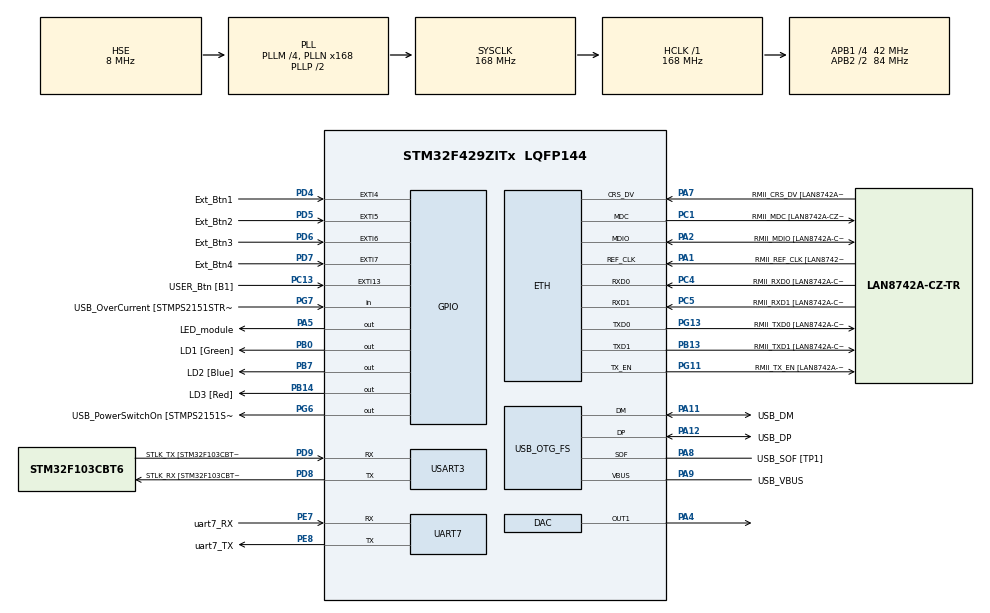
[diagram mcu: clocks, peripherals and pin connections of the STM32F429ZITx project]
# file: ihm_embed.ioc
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Mcu.Family=STM32F4
FREERTOS.Queues01=msgtosend,16,uint16_t,0,Dynamic,NULL,NULL;msgtoreceive,16,uint16_t,0,Dynamic,NULL,NULL
RCC.CortexFreq_Value=168000000
PG6.Signal=GPIO_Output
PB14.GPIO_Label=LD3 [Red]
PG6.GPIO_Label=USB_PowerSwitchOn [STMPS2151STR_EN]
PA14.GPIO_Label=TCK
RCC.SYSCLKSourceVirtual=RCC_SYSCLKSOURCE_PLLCLK
PA11.Mode=Device_Only
PB0.GPIO_Label=LD1 [Green]
PC14/OSC32_IN.Mode=LSE-External-Oscillator
PC5.Mode=RMII
PC13.GPIO_Label=USER_Btn [B1]
PB13.GPIO_Label=RMII_TXD1 [LAN8742A-CZ-TR_TXD1]
PB13.Signal=ETH_TXD1
PD6.GPIO_Label=Ext_Btn3
PG13.Signal=ETH_TXD0
PD9.Mode=Asynchronous
PG11.Signal=ETH_TX_EN
RCC.SYSCLKSource=RCC_SYSCLKSOURCE_PLLCLK
ProjectManager.StackSize=0x400
VP_FREERTOS_VS_CMSIS_V2.Mode=CMSIS_V2
PA12.Signal=USB_OTG_FS_DP
ETH.PHY_Value=0
PH0/OSC_IN.Mode=HSE-External-Clock-Source
RCC.HCLKFreq_Value=168000000
PD4.Signal=GPXTI4
RCC.APB2TimFreq_Value=168000000
PH1/OSC_OUT.Signal=RCC_OSC_OUT
PD8.Signal=USART3_TX
RCC.AHBFreq_Value=168000000
RCC.HSE_VALUE=8000000
RCC.PLLMUL=RCC_PLL_MUL9
PC4.GPIO_Label=RMII_RXD0 [LAN8742A-CZ-TR_RXD0]
PA14.Mode=Serial_Wire
NVIC.TIM2_IRQn=true\:0\:0\:false\:false\:true\:false\:false\:true
PA10.GPIO_Label=USB_ID
PB7.Signal=GPIO_Output
PA8.Signal=USB_OTG_FS_SOF
PG13.Mode=RMII
ETH.PHY_Name=LAN8742A_PHY_ADDRESS
PH1/OSC_OUT.Mode=HSE-External-Clock-Source
PD7.GPIO_Label=Ext_Btn4
PB7.GPIO_Label=LD2 [Blue]
Mcu.Package=LQFP144
VP_SYS_VS_tim2.Mode=TIM2
NVIC.TimeBase=TIM2_IRQn
PC14/OSC32_IN.Signal=RCC_OSC32_IN
PD5.GPIO_Label=Ext_Btn2
PA2.GPIO_Label=RMII_MDIO [LAN8742A-CZ-TR_MDIO]
NVIC.TimeBaseIP=TIM2
PA10.Signal=USB_OTG_FS_ID
USB_OTG_FS.VirtualMode=Device_Only
RCC.APB2CLKDivider=RCC_HCLK_DIV2
RCC.APB1TimFreq_Value=84000000
PG11.GPIO_Label=RMII_TX_EN [LAN8742A-CZ-TR_TXEN]
PC5.Signal=ETH_RXD1
PB13.Mode=RMII
PE7.Signal=UART7_RX
PD6.Signal=GPXTI6
PC4.Mode=RMII
SH.COMP_DAC1_group.0=DAC_OUT1,DAC_OUT1
NVIC.EXTI4_IRQn=true\:0\:0\:false\:false\:true\:false\:true\:true
FREERTOS.Tasks01=ReadButton,24,128,readButton,Default,NULL,Dynamic,NULL,NULL;DisplayLed,24,128,displayLED,Default,NULL,Dynamic,NULL,NULL;Communication,24,128,communication,Default,NULL,Dynamic,NULL,NULL
PA7.Mode=RMII
PG7.Signal=GPIO_Input
PD9.GPIO_Label=STLK_TX [STM32F103CBT6_PA2]
PC13.Signal=GPXTI13
PA9.GPIO_Label=USB_VBUS
PC4.Signal=ETH_RXD0
PD7.Signal=GPXTI7
PA11.GPIO_Label=USB_DM
PD9.Signal=USART3_RX
PD5.Signal=GPXTI5
UART7.VirtualMode=Asynchronous
RCC.APB1CLKDivider=RCC_HCLK_DIV4
PG13.GPIO_Label=RMII_TXD0 [LAN8742A-CZ-TR_TXD0]
ETH.PhyAddress=0
PA12.GPIO_Label=USB_DP
PD8.GPIO_Label=STLK_RX [STM32F103CBT6_PA3]
PE8.Mode=Asynchronous
PA13.Signal=SYS_JTMS-SWDIO
PA9.Mode=Activate_VBUS
PA8.GPIO_Label=USB_SOF [TP1]
ProjectManager.TargetToolchain=TrueSTUDIO
PE8.GPIO_Label=uart7_TX
PA9.Signal=USB_OTG_FS_VBUS
RCC.USBFreq_Value=48000000
PD8.Mode=Asynchronous
PA1.Signal=ETH_REF_CLK
PB14.Signal=GPIO_Output
PA5.Signal=GPIO_Output
board=NUCLEO-F429ZI
RCC.VCOOutputFreq_Value=336000000
PH0/OSC_IN.Signal=RCC_OSC_IN
RCC.APB2Freq_Value=84000000
PA1.Mode=RMII
RCC.PRESCALERUSB=RCC_USBCLKSOURCE_PLL_DIV1_5
PE8.Signal=UART7_TX
PD4.GPIO_Label=Ext_Btn1
PG7.GPIO_Label=USB_OverCurrent [STMPS2151STR_FAULT]
PA1.GPIO_Label=RMII_REF_CLK [LAN8742A-CZ-TR_REFCLK0]
PC1.GPIO_Label=RMII_MDC [LAN8742A-CZ-TR_MDC]
PA13.Mode=Serial_Wire
Mcu.Name=STM32F429ZITx
PE7.GPIO_Label=uart7_RX
PA2.Signal=ETH_MDIO
PA13.GPIO_Label=TMS
RCC.APB2TimCLKDivider=2
RCC.48MHZClocksFreq_Value=48000000
PA4.Signal=COMP_DAC1_group
RCC.SYSCLKFreq_VALUE=168000000
PE7.Mode=Asynchronous
ETH.MediaInterface=ETH_MEDIA_INTERFACE_RMII
PA7.GPIO_Label=RMII_CRS_DV [LAN8742A-CZ-TR_CRS_DV]
PA12.Mode=Device_Only
PA5.GPIO_Label=LED_module
PC5.GPIO_Label=RMII_RXD1 [LAN8742A-CZ-TR_RXD1]
USART3.VirtualMode=VM_ASYNC
PC15/OSC32_OUT.Mode=LSE-External-Oscillator
PG11.Mode=RMII
PA11.Signal=USB_OTG_FS_DM
NVIC.EXTI9_5_IRQn=true\:0\:0\:false\:false\:true\:false\:true\:true
PA14.Signal=SYS_JTCK-SWCLK
ProjectManager.HeapSize=0x200
RCC.HSI_VALUE=16000000
PH0/OSC_IN.GPIO_Label=MCO [STM32F103CBT6_PA8]
RCC.PLLQ=7
NVIC.PriorityGroup=NVIC_PRIORITYGROUP_4
RCC.PLLM=4
RCC.PLLN=168
PA2.Mode=RMII
PC15/OSC32_OUT.Signal=RCC_OSC32_OUT
PA8.Mode=Activate_SOF_FS
RCC.APB1Freq_Value=42000000
PB0.Signal=GPIO_Output
PC1.Signal=ETH_MDC
PC1.Mode=RMII
PA7.Signal=ETH_CRS_DV

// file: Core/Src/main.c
/* USER CODE BEGIN Header */
/**
 ******************************************************************************
 * @file           : main.c
 * @brief          : Main program body
 ******************************************************************************
 * @attention
 *
 * <h2><center>&copy; Copyright (c) 2020 STMicroelectronics.
 * All rights reserved.</center></h2>
 *
 * This software component is licensed by ST under Ultimate Liberty license
 * SLA0044, the "License"; You may not use this file except in compliance with
 * the License. You may obtain a copy of the License at:
 *                             www.st.com/SLA0044
 *
 ******************************************************************************
 */
/* USER CODE END Header */
#include "main.h"
#include "cmsis_os.h"

/* USER CODE BEGIN Includes */
#include "uart7_com.h"
#include "driverFunc.h"
/* USER CODE END Includes */

DAC_HandleTypeDef hdac;

ETH_HandleTypeDef heth;

UART_HandleTypeDef huart7;
UART_HandleTypeDef huart3;

PCD_HandleTypeDef hpcd_USB_OTG_FS;

/* Definitions for ReadButton */
osThreadId_t ReadButtonHandle;
const osThreadAttr_t ReadButton_attributes = {
		.name = "ReadButton",
		.priority = (osPriority_t) osPriorityNormal,
		.stack_size = 128 * 4
};
/* Definitions for DisplayLed */
osThreadId_t DisplayLedHandle;
const osThreadAttr_t DisplayLed_attributes = {
		.name = "DisplayLed",
		.priority = (osPriority_t) osPriorityNormal,
		.stack_size = 128 * 4
};
/* Definitions for Communication */
osThreadId_t CommunicationHandle;
const osThreadAttr_t Communication_attributes = {
		.name = "Communication",
		.priority = (osPriority_t) osPriorityNormal,
		.stack_size = 128 * 4
};
/* Definitions for msgtosend */
osMessageQueueId_t msgtosendHandle;
const osMessageQueueAttr_t msgtosend_attributes = {
		.name = "msgtosend"
};
/* Definitions for msgtoreceive */
osMessageQueueId_t msgtoreceiveHandle;
const osMessageQueueAttr_t msgtoreceive_attributes = {
		.name = "msgtoreceive"
};
/* USER CODE BEGIN PV */
osThreadId_t Uart_comHandle;
const osThreadAttr_t Uart_com_attributes = {
		.name = "Uart Com",
		.priority = (osPriority_t) osPriorityNormal,
		.stack_size = 128 * 4
};
uint8_t btn_left = FALSE;
uint8_t btn_down = FALSE;
uint8_t btn_right = FALSE;
/* USER CODE END PV */

void SystemClock_Config(void);
static void MX_GPIO_Init(void);
static void MX_ETH_Init(void);
static void MX_USART3_UART_Init(void);
static void MX_USB_OTG_FS_PCD_Init(void);
static void MX_UART7_Init(void);
static void MX_DAC_Init(void);
void readButton(void *argument);
void displayLED(void *argument);
void communication(void *argument);

/* USER CODE BEGIN 0 */
extern int matrix[8][8];

/* USER CODE END 0 */

int main(void)
{

	/* MCU Configuration--------------------------------------------------------*/

	/* Reset of all peripherals, Initializes the Flash interface and the Systick. */
	HAL_Init();

	/* Configure the system clock */
	SystemClock_Config();

	/* Initialize all configured peripherals */
	MX_GPIO_Init();
	MX_ETH_Init();
	MX_USART3_UART_Init();
	MX_USB_OTG_FS_PCD_Init();
	MX_UART7_Init();
	MX_DAC_Init();

	/* Init scheduler */
	osKernelInitialize();

	/* Create the queue(s) */
	/* creation of msgtosend */
	msgtosendHandle = osMessageQueueNew (16, 5, &msgtosend_attributes);

	/* creation of msgtoreceive */
	msgtoreceiveHandle = osMessageQueueNew (16, sizeof(uint16_t), &msgtoreceive_attributes);

	/* Create the thread(s) */
	/* creation of ReadButton */
	ReadButtonHandle = osThreadNew(readButton, NULL, &ReadButton_attributes);

	/* creation of DisplayLed */
	DisplayLedHandle = osThreadNew(displayLED, NULL, &DisplayLed_attributes);

	/* creation of Communication */
	CommunicationHandle = osThreadNew(communication, NULL, &Communication_attributes);

	/* USER CODE BEGIN RTOS_THREADS */
	/* add threads, ... */
	Uart_comHandle = osThreadNew(uart_com, NULL, &Uart_com_attributes);

	/* USER CODE END RTOS_THREADS */

	/* Start scheduler */
	osKernelStart();

	/* We should never get here as control is now taken by the scheduler */
	/* Infinite loop */
	while (1)
	{

	}
}

void SystemClock_Config(void)
{
	RCC_OscInitTypeDef RCC_OscInitStruct = {0};
	RCC_ClkInitTypeDef RCC_ClkInitStruct = {0};

	/** Configure the main internal regulator output voltage
	 */
	__HAL_RCC_PWR_CLK_ENABLE();
	__HAL_PWR_VOLTAGESCALING_CONFIG(PWR_REGULATOR_VOLTAGE_SCALE1);
	/** Initializes the RCC Oscillators according to the specified parameters
	 * in the RCC_OscInitTypeDef structure.
	 */
	RCC_OscInitStruct.OscillatorType = RCC_OSCILLATORTYPE_HSE;
	RCC_OscInitStruct.HSEState = RCC_HSE_BYPASS;
	RCC_OscInitStruct.PLL.PLLState = RCC_PLL_ON;
	RCC_OscInitStruct.PLL.PLLSource = RCC_PLLSOURCE_HSE;
	RCC_OscInitStruct.PLL.PLLM = 4;
	RCC_OscInitStruct.PLL.PLLN = 168;
	RCC_OscInitStruct.PLL.PLLP = RCC_PLLP_DIV2;
	RCC_OscInitStruct.PLL.PLLQ = 7;
	if (HAL_RCC_OscConfig(&RCC_OscInitStruct) != HAL_OK)
	{
		Error_Handler();
	}
	/** Initializes the CPU, AHB and APB buses clocks
	 */
	RCC_ClkInitStruct.ClockType = RCC_CLOCKTYPE_HCLK|RCC_CLOCKTYPE_SYSCLK
			|RCC_CLOCKTYPE_PCLK1|RCC_CLOCKTYPE_PCLK2;
	RCC_ClkInitStruct.SYSCLKSource = RCC_SYSCLKSOURCE_PLLCLK;
	RCC_ClkInitStruct.AHBCLKDivider = RCC_SYSCLK_DIV1;
	RCC_ClkInitStruct.APB1CLKDivider = RCC_HCLK_DIV4;
	RCC_ClkInitStruct.APB2CLKDivider = RCC_HCLK_DIV2;

	if (HAL_RCC_ClockConfig(&RCC_ClkInitStruct, FLASH_LATENCY_5) != HAL_OK)
	{
		Error_Handler();
	}
}

static void MX_DAC_Init(void)
{

	DAC_ChannelConfTypeDef sConfig = {0};

	/** DAC Initialization
	 */
	hdac.Instance = DAC;
	if (HAL_DAC_Init(&hdac) != HAL_OK)
	{
		Error_Handler();
	}
	/** DAC channel OUT1 config
	 */
	sConfig.DAC_Trigger = DAC_TRIGGER_NONE;
	sConfig.DAC_OutputBuffer = DAC_OUTPUTBUFFER_ENABLE;
	if (HAL_DAC_ConfigChannel(&hdac, &sConfig, DAC_CHANNEL_1) != HAL_OK)
	{
		Error_Handler();
	}

}

static void MX_ETH_Init(void)
{

	heth.Instance = ETH;
	heth.Init.AutoNegotiation = ETH_AUTONEGOTIATION_ENABLE;
	heth.Init.PhyAddress = LAN8742A_PHY_ADDRESS;
	heth.Init.MACAddr[0] =   0x00;
	heth.Init.MACAddr[1] =   0x80;
	heth.Init.MACAddr[2] =   0xE1;
	heth.Init.MACAddr[3] =   0x00;
	heth.Init.MACAddr[4] =   0x00;
	heth.Init.MACAddr[5] =   0x00;
	heth.Init.RxMode = ETH_RXPOLLING_MODE;
	heth.Init.ChecksumMode = ETH_CHECKSUM_BY_HARDWARE;
	heth.Init.MediaInterface = ETH_MEDIA_INTERFACE_RMII;

	if (HAL_ETH_Init(&heth) != HAL_OK)
	{
		Error_Handler();
	}

}

static void MX_UART7_Init(void)
{

	huart7.Instance = UART7;
	huart7.Init.BaudRate = 115200;
	huart7.Init.WordLength = UART_WORDLENGTH_8B;
	huart7.Init.StopBits = UART_STOPBITS_1;
	huart7.Init.Parity = UART_PARITY_NONE;
	huart7.Init.Mode = UART_MODE_TX_RX;
	huart7.Init.HwFlowCtl = UART_HWCONTROL_NONE;
	huart7.Init.OverSampling = UART_OVERSAMPLING_16;
	if (HAL_UART_Init(&huart7) != HAL_OK)
	{
		Error_Handler();
	}

}

static void MX_USART3_UART_Init(void)
{

	huart3.Instance = USART3;
	huart3.Init.BaudRate = 115200;
	huart3.Init.WordLength = UART_WORDLENGTH_8B;
	huart3.Init.StopBits = UART_STOPBITS_1;
	huart3.Init.Parity = UART_PARITY_NONE;
	huart3.Init.Mode = UART_MODE_TX_RX;
	huart3.Init.HwFlowCtl = UART_HWCONTROL_NONE;
	huart3.Init.OverSampling = UART_OVERSAMPLING_16;
	if (HAL_UART_Init(&huart3) != HAL_OK)
	{
		Error_Handler();
	}

}

static void MX_USB_OTG_FS_PCD_Init(void)
{

	hpcd_USB_OTG_FS.Instance = USB_OTG_FS;
	hpcd_USB_OTG_FS.Init.dev_endpoints = 4;
	hpcd_USB_OTG_FS.Init.speed = PCD_SPEED_FULL;
	hpcd_USB_OTG_FS.Init.dma_enable = DISABLE;
	hpcd_USB_OTG_FS.Init.phy_itface = PCD_PHY_EMBEDDED;
	hpcd_USB_OTG_FS.Init.Sof_enable = ENABLE;
	hpcd_USB_OTG_FS.Init.low_power_enable = DISABLE;
	hpcd_USB_OTG_FS.Init.lpm_enable = DISABLE;
	hpcd_USB_OTG_FS.Init.vbus_sensing_enable = ENABLE;
	hpcd_USB_OTG_FS.Init.use_dedicated_ep1 = DISABLE;
	if (HAL_PCD_Init(&hpcd_USB_OTG_FS) != HAL_OK)
	{
		Error_Handler();
	}

}

static void MX_GPIO_Init(void)
{
	GPIO_InitTypeDef GPIO_InitStruct = {0};

	/* GPIO Ports Clock Enable */
	__HAL_RCC_GPIOC_CLK_ENABLE();
	__HAL_RCC_GPIOH_CLK_ENABLE();
	__HAL_RCC_GPIOA_CLK_ENABLE();
	__HAL_RCC_GPIOB_CLK_ENABLE();
	__HAL_RCC_GPIOE_CLK_ENABLE();
	__HAL_RCC_GPIOD_CLK_ENABLE();
	__HAL_RCC_GPIOG_CLK_ENABLE();

	/*Configure GPIO pin Output Level */
	HAL_GPIO_WritePin(LED_module_GPIO_Port, LED_module_Pin, GPIO_PIN_RESET);

	/*Configure GPIO pin Output Level */
	HAL_GPIO_WritePin(GPIOB, LD1_Pin|LD3_Pin|LD2_Pin, GPIO_PIN_RESET);

	/*Configure GPIO pin Output Level */
	HAL_GPIO_WritePin(USB_PowerSwitchOn_GPIO_Port, USB_PowerSwitchOn_Pin, GPIO_PIN_RESET);

	/*Configure GPIO pin : USER_Btn_Pin */
	GPIO_InitStruct.Pin = USER_Btn_Pin;
	GPIO_InitStruct.Mode = GPIO_MODE_IT_RISING;
	GPIO_InitStruct.Pull = GPIO_NOPULL;
	HAL_GPIO_Init(USER_Btn_GPIO_Port, &GPIO_InitStruct);

	/*Configure GPIO pin : LED_module_Pin */
	GPIO_InitStruct.Pin = LED_module_Pin;
	GPIO_InitStruct.Mode = GPIO_MODE_OUTPUT_PP;
	GPIO_InitStruct.Pull = GPIO_NOPULL;
	GPIO_InitStruct.Speed = GPIO_SPEED_FREQ_LOW;
	HAL_GPIO_Init(LED_module_GPIO_Port, &GPIO_InitStruct);

	/*Configure GPIO pins : LD1_Pin LD3_Pin LD2_Pin */
	GPIO_InitStruct.Pin = LD1_Pin|LD3_Pin|LD2_Pin;
	GPIO_InitStruct.Mode = GPIO_MODE_OUTPUT_PP;
	GPIO_InitStruct.Pull = GPIO_NOPULL;
	GPIO_InitStruct.Speed = GPIO_SPEED_FREQ_LOW;
	HAL_GPIO_Init(GPIOB, &GPIO_InitStruct);

	/*Configure GPIO pin : USB_PowerSwitchOn_Pin */
	GPIO_InitStruct.Pin = USB_PowerSwitchOn_Pin;
	GPIO_InitStruct.Mode = GPIO_MODE_OUTPUT_PP;
	GPIO_InitStruct.Pull = GPIO_NOPULL;
	GPIO_InitStruct.Speed = GPIO_SPEED_FREQ_LOW;
	HAL_GPIO_Init(USB_PowerSwitchOn_GPIO_Port, &GPIO_InitStruct);

	/*Configure GPIO pin : USB_OverCurrent_Pin */
	GPIO_InitStruct.Pin = USB_OverCurrent_Pin;
	GPIO_InitStruct.Mode = GPIO_MODE_INPUT;
	GPIO_InitStruct.Pull = GPIO_NOPULL;
	HAL_GPIO_Init(USB_OverCurrent_GPIO_Port, &GPIO_InitStruct);

	/*Configure GPIO pins : Ext_Btn1_Pin Ext_Btn2_Pin Ext_Btn3_Pin Ext_Btn4_Pin */
	GPIO_InitStruct.Pin = Ext_Btn1_Pin|Ext_Btn2_Pin|Ext_Btn3_Pin|Ext_Btn4_Pin;
	GPIO_InitStruct.Mode = GPIO_MODE_IT_RISING;
	GPIO_InitStruct.Pull = GPIO_NOPULL;
	HAL_GPIO_Init(GPIOD, &GPIO_InitStruct);

	/* EXTI interrupt init*/
	HAL_NVIC_SetPriority(EXTI4_IRQn, 0, 0);
	HAL_NVIC_EnableIRQ(EXTI4_IRQn);

	HAL_NVIC_SetPriority(EXTI9_5_IRQn, 0, 0);
	HAL_NVIC_EnableIRQ(EXTI9_5_IRQn);

}

/* USER CODE BEGIN 4 */
void send_message(char *value_to_push,
		int message_lenght) {
	if (message_lenght <= 10) {
		//		push_element(&liste_app, value_to_push);
		osMessageQueuePut(msgtosendHandle,value_to_push,0,10);

	}
}
void receive_message(char * msg_to_reveive, int lenght){
	if (lenght <= 10) {
		osMessageQueueGet(msgtoreceiveHandle,msg_to_reveive,0,10);
	}

}

void HAL_GPIO_EXTI_Callback(uint16_t GPIO_Pin){ // INTERRUPTION !
	if(GPIO_Pin == Ext_Btn1_Pin){ // GAUCHE
		btn_left = TRUE;
	}
	if(GPIO_Pin == Ext_Btn2_Pin){ // MILIEU GAUCHE
		btn_down = TRUE;
	}
	if(GPIO_Pin == Ext_Btn3_Pin){ // MILIEU DROITE
		btn_down = TRUE;
	}
	if (GPIO_Pin == Ext_Btn4_Pin){ // DROITE
		btn_right = TRUE;
	}
}
/* USER CODE END 4 */

void readButton(void *argument)
{
	/* USER CODE BEGIN 5 */
	char  message[5];
	message[0]='p';
	message[1]='1';
	message[3]='d';
	message[4]='\n';
	/* Infinite loop */
	for(;;)
	{
		if(btn_left == TRUE){
			message[2]='l';
			btn_left=FALSE;
			send_message(message,5);
		}
		else if(btn_right == TRUE){
			message[2]='r';
			btn_right = FALSE;
			send_message(message,5);
		}
		else if(btn_down == TRUE){
			message[2]='d';
			btn_down = FALSE;
			send_message(message,5);
		}
		//		send_message(message,5);
		osDelay(1);
	}
	/* USER CODE END 5 */
}

/* USER CODE BEGIN Header_displayLED */
void send_frame_v2(){
	//	matrix[0][5]=1000000;
	int mask = 0x800000;
	int T0H = HIGH_TIME_0;
	int T0L = LOW_TIME_0;
	int T1H = HIGH_TIME_1;
	int T1L = LOW_TIME_1;
	vTaskSuspendAll();
	SysTick->CTRL&=~1;
	TIM1->CR1&=(uint16_t)~TIM_CR1_CEN;

	HAL_GPIO_WritePin(LED_module_GPIO_Port, LED_module_Pin, 0);
	for (int Line =0; Line < MATRIX_ROW;Line++){
		for(int Column =0;Column < MATRIX_COL;Column++){
			mask = 0x800000;
			for(int k = 23; k >=0; k--){
				if((matrix[Line][Column] & mask) ){
					HAL_GPIO_WritePin(LED_module_GPIO_Port, LED_module_Pin, 1);
					while(T1H--);
					HAL_GPIO_WritePin(LED_module_GPIO_Port, LED_module_Pin, 0);
					while(T1L--);
				}else {
					HAL_GPIO_WritePin(LED_module_GPIO_Port, LED_module_Pin, 1);
					while(T0H--);
					HAL_GPIO_WritePin(LED_module_GPIO_Port, LED_module_Pin, 0);
					while(T0L--);
					//					HAL_GPIO_WritePin(LED_module_GPIO_Port, LED_module_Pin, 0);
				}
				mask >>= 1;
				T0H = HIGH_TIME_0;
				T0L = LOW_TIME_0;
				T1H = HIGH_TIME_1;
				T1L = LOW_TIME_1;
			}

		}
	}
	HAL_GPIO_WritePin(LED_module_GPIO_Port, LED_module_Pin, 1);
	HAL_GPIO_WritePin(LED_module_GPIO_Port, LED_module_Pin, 0);

	xTaskResumeAll();
	SysTick->CTRL|=1;
	TIM1->CR1&=TIM_CR1_CEN;
}
/**
 * @brief Function implementing the DisplayLed thread.
 * @param argument: Not used
 * @retval None
 */
/* USER CODE END Header_displayLED */

void displayLED(void *argument)
{
	//	char* buffer="000000001111111100000000111111110000000011111111";

	/* USER CODE BEGIN displayLED */
	char  message[10]={0};
	init_matrix();
	/* Infinite loop */
	for(;;)
	{
		receive_message(message,10);

//		if(btn_left == TRUE){
			update_matrix(message);
//			set_choosen_LED();
			send_frame_v2();
//			btn_left=FALSE;
//		}

		osDelay(1);
	}
	/* USER CODE END displayLED */
}

void communication(void *argument)
{
	/* USER CODE BEGIN communication */
	/* Infinite loop */
	for(;;)
	{
		unsigned char message[10] = { 0 };
		if(osMessageQueueGetCount (msgtosendHandle) != 0){
			osMessageQueueGet(msgtosendHandle,message,0,5);
			HAL_UART_Transmit(&huart7,message, 5, 10);

		}
		if(HAL_UART_Receive(&huart7,message,10,20)== HAL_OK ){
			osMessageQueuePut(msgtoreceiveHandle,message,0,20);
		}
		osDelay(1);
	}
	/* USER CODE END communication */
}

void HAL_TIM_PeriodElapsedCallback(TIM_HandleTypeDef *htim)
{
	if (htim->Instance == TIM2) {
		HAL_IncTick();
	}
}

void Error_Handler(void)
{
}

/************************ (C) COPYRIGHT STMicroelectronics *****END OF FILE****/
